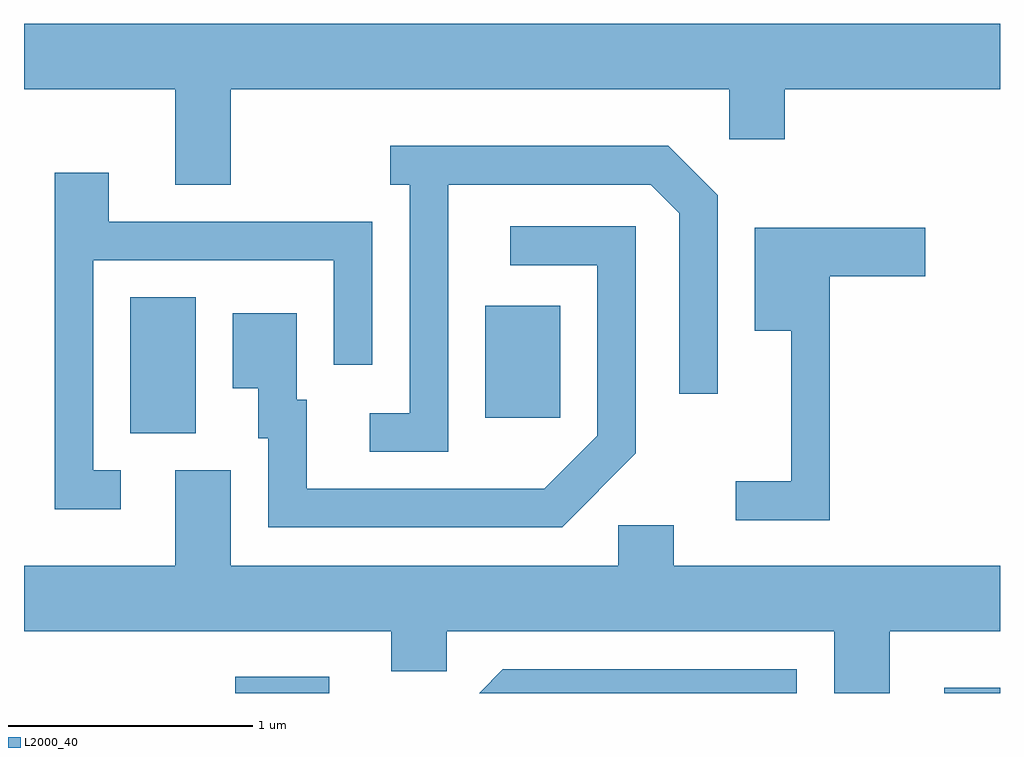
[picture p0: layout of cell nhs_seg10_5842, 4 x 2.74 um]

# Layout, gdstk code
import gdstk
lib = gdstk.Library(unit=1e-6, precision=1e-09)
def R(c, l, rs):  # rectangles x0, y0, x1, y1
    for r in rs: c.add(gdstk.rectangle(r[:2], r[2:], *l))
def P(c, l, *ps):  # polygons
    for p in ps: c.add(gdstk.Polygon(p, *l))
L2000_40 = (2000, 40)

nhs_seg10_5842 = lib.new_cell('nhs_seg10_5842')
R(nhs_seg10_5842, L2000_40, [(358.476,2142.522,358.863,2142.589), (361.383,2142.522,361.611,2142.544), (358.046,2143.586,358.314,2144.144), (359.501,2143.651,359.809,2144.109)])
P(nhs_seg10_5842, L2000_40, [(358.459,2144.996),(360.501,2144.996),(360.501,2144.791),(360.729,2144.791),(360.729,2144.996),(361.611,2144.996),(361.611,2145.264),(357.611,2145.264),(357.611,2144.996),(358.231,2144.996),(358.231,2144.606),(358.459,2144.606)],
  [(359.349,2144.606),(360.179,2144.606),(360.296,2144.489),(360.296,2143.748),(360.454,2143.748),(360.454,2144.562),(360.252,2144.764),(359.113,2144.764),(359.113,2144.606),(359.191,2144.606),(359.191,2143.669),(359.028,2143.669),(359.028,2143.511),(359.349,2143.511)],
  [(358.008,2143.434),(357.894,2143.434),(357.894,2144.296),(358.881,2144.296),(358.881,2143.868),(359.039,2143.868),(359.039,2144.454),(357.959,2144.454),(357.959,2144.654),(357.736,2144.654),(357.736,2143.276),(358.008,2143.276)],
  [(360.119,2143.504),(360.119,2144.434),(359.603,2144.434),(359.603,2144.276),(359.961,2144.276),(359.961,2143.577),(359.744,2143.359),(358.769,2143.359),(358.769,2143.724),(358.729,2143.724),(358.729,2144.079),(358.466,2144.079),(358.466,2143.771),(358.571,2143.771),(358.571,2143.566),(358.611,2143.566),(358.611,2143.201),(359.817,2143.201)],
  [(360.914,2144.231),(361.304,2144.231),(361.304,2144.429),(360.606,2144.429),(360.606,2144.006),(360.756,2144.006),(360.756,2143.389),(360.528,2143.389),(360.528,2143.231),(360.914,2143.231)],
  [(361.159,2142.776),(361.611,2142.776),(361.611,2143.044),(360.274,2143.044),(360.274,2143.209),(360.046,2143.209),(360.046,2143.044),(358.459,2143.044),(358.459,2143.434),(358.231,2143.434),(358.231,2143.044),(357.611,2143.044),(357.611,2142.776),(359.116,2142.776),(359.116,2142.611),(359.344,2142.611),(359.344,2142.776),(360.931,2142.776),(360.931,2142.522),(361.159,2142.522)],
  [(360.779,2142.619),(359.574,2142.619),(359.477,2142.522),(360.779,2142.522)])

lib.write_gds('nhs_seg10_5842.gds')
